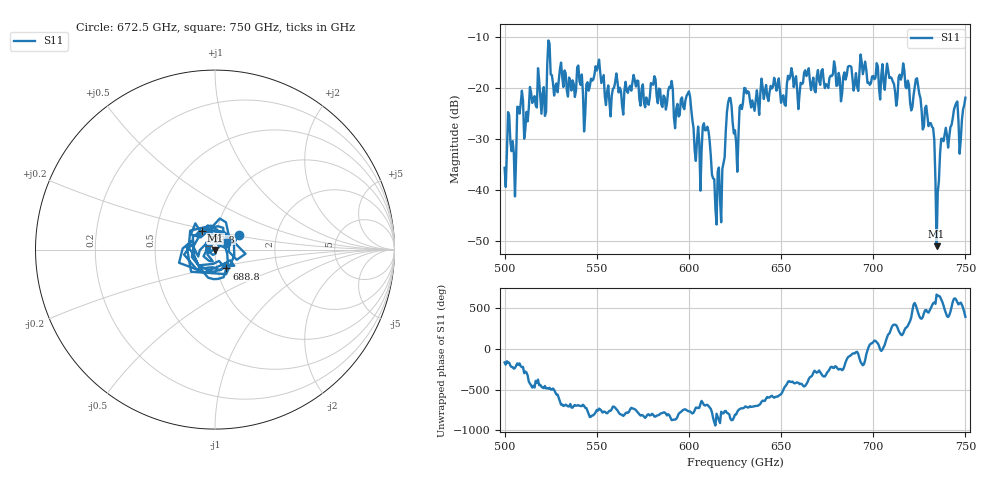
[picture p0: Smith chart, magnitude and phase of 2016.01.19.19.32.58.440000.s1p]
!Created with skrf (http://scikit-rf.org).
# GHz S RI R 50.0
!freq ReS11 ImS11
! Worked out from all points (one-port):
!   401 points, 500 GHz to 750 GHz, reference 50 ohm
!   lowest |S11| = -51.0 dB at 734.4 GHz (marker M1), VSWR 1.01, Z = 50.2 - j0.23 ohm
!   |S11| at or under -10 dB: start of sweep to end of sweep
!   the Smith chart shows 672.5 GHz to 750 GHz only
!   S11 on the Smith chart (normalised r, x): 672.5 GHz: 1.28, +0.21; 688.8 GHz: 1.11, -0.24; 723.8 GHz: 0.85, +0.17; 750 GHz: 1.14, +0.10
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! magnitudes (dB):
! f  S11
! 500 GHz  -35.6
! 503.1 GHz  -30.5
! 505 GHz  -32.7
! 508.1 GHz  -25.0
! 521.2 GHz  -19.8
! 524.4 GHz  -11.2
! 527.5 GHz  -19.7
! 531.2 GHz  -17.7
! 562.5 GHz  -19.9
! 590 GHz  -20.0
! 593.8 GHz  -23.1
! 600 GHz  -20.7
! 605 GHz  -27.5
! 609.4 GHz  -28.3
! 616.2 GHz  -35.6
! 621.9 GHz  -22.0
! 625 GHz  -28.3
! 631.2 GHz  -21.1
! 656.2 GHz  -17.3
! 672.5 GHz  -16.3
! 687.5 GHz  -15.7
! 688.8 GHz  -18.2
! 718.8 GHz  -18.5
! 723.8 GHz  -18.1
! 731.9 GHz  -27.6
! 734.4 GHz  -51.0
! 738.1 GHz  -30.4
! 750 GHz  -21.9
